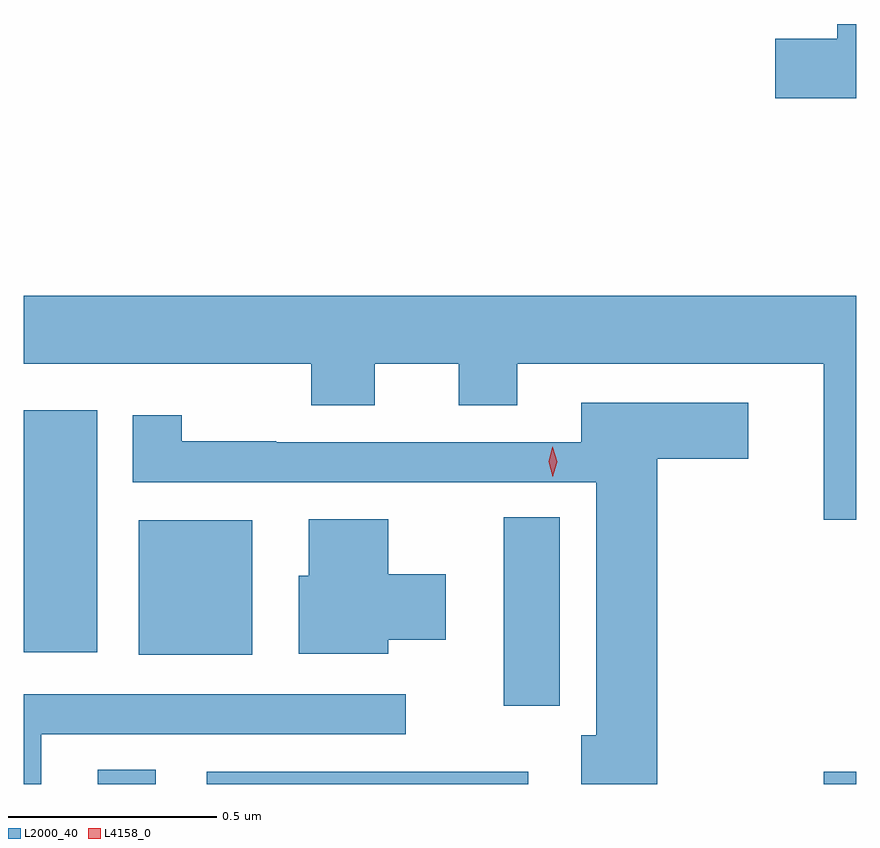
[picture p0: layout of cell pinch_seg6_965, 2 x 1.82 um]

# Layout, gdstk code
import gdstk
lib = gdstk.Library(unit=1e-6, precision=1e-09)
def R(c, l, rs):  # rectangles x0, y0, x1, y1
    for r in rs: c.add(gdstk.rectangle(r[:2], r[2:], *l))
def P(c, l, *ps):  # polygons
    for p in ps: c.add(gdstk.Polygon(p, *l))
L2000_40 = (2000, 40)
L4158_0 = (4158, 0)

pinch_seg6_965 = lib.new_cell('pinch_seg6_965')
R(pinch_seg6_965, L2000_40, [(367.061,923.683,367.201,923.717), (367.323,923.683,368.095,923.712), (368.804,923.683,368.883,923.713), (368.036,923.871,368.17,924.323), (367.16,923.993,367.432,924.316), (366.883,923.999,367.06,924.58)])
P(pinch_seg6_965, L2000_40, [(368.883,925.508),(368.837,925.508),(368.837,925.472),(368.688,925.472),(368.688,925.33),(368.883,925.33)],
  [(366.883,924.692),(367.574,924.692),(367.574,924.593),(367.726,924.593),(367.726,924.692),(367.928,924.692),(367.928,924.593),(368.068,924.593),(368.068,924.692),(368.804,924.692),(368.804,924.318),(368.883,924.318),(368.883,924.856),(366.883,924.856)],
  [(368.405,924.464),(368.623,924.464),(368.623,924.598),(368.222,924.598),(368.222,924.504),(367.49,924.504),(367.49,924.506),(367.263,924.506),(367.263,924.568),(367.145,924.568),(367.145,924.408),(368.258,924.408),(368.258,923.8),(368.222,923.8),(368.222,923.683),(368.405,923.683)],
  [(367.759,924.029),(367.897,924.029),(367.897,924.187),(367.759,924.187),(367.759,924.319),(367.568,924.319),(367.568,924.183),(367.544,924.183),(367.544,923.996),(367.759,923.996)],
  [(366.925,923.802),(367.801,923.802),(367.801,923.898),(366.883,923.898),(366.883,923.683),(366.925,923.683)])
P(pinch_seg6_965, L4158_0, [(368.154,924.421),(368.154,924.421),(368.144,924.457),(368.153,924.492),(368.154,924.493),(368.154,924.492),(368.164,924.457),(368.154,924.421)])

lib.write_gds('pinch_seg6_965.gds')
